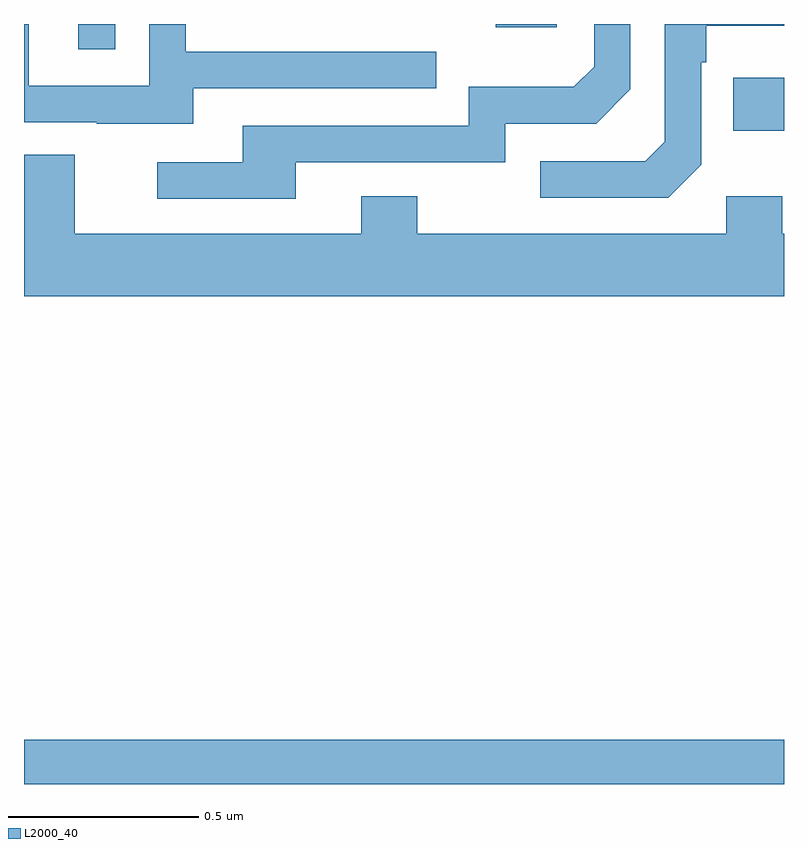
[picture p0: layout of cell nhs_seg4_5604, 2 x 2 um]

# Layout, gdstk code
import gdstk
lib = gdstk.Library(unit=1e-6, precision=1e-09)
def R(c, l, rs):  # rectangles x0, y0, x1, y1
    for r in rs: c.add(gdstk.rectangle(r[:2], r[2:], *l))
def P(c, l, *ps):  # polygons
    for p in ps: c.add(gdstk.Polygon(p, *l))
L2000_40 = (2000, 40)

nhs_seg4_5604 = lib.new_cell('nhs_seg4_5604')
R(nhs_seg4_5604, L2000_40, [(180,764.9,182,765.016), (181.867,766.619,182,766.759), (180.143,766.833,180.24,766.9), (181.241,766.892,181.402,766.9)])
P(nhs_seg4_5604, L2000_40, [(180.445,766.731),(181.085,766.731),(181.085,766.827),(180.426,766.827),(180.426,766.9),(180.33,766.9),(180.33,766.737),(180.012,766.737),(180.012,766.9),(180,766.9),(180,766.641),(180.191,766.641),(180.191,766.637),(180.445,766.637)],
  [(180.715,766.536),(181.266,766.536),(181.266,766.638),(181.506,766.638),(181.596,766.728),(181.596,766.9),(181.5,766.9),(181.5,766.788),(181.447,766.735),(181.17,766.735),(181.17,766.632),(180.575,766.632),(180.575,766.536),(180.351,766.536),(180.351,766.44),(180.715,766.44)],
  [(181.782,766.53),(181.782,766.799),(181.795,766.799),(181.795,766.895),(182,766.895),(182,766.9),(181.686,766.9),(181.686,766.59),(181.635,766.539),(181.359,766.539),(181.359,766.443),(181.695,766.443)],
  [(182,766.348),(181.995,766.348),(181.995,766.447),(181.848,766.447),(181.848,766.348),(181.035,766.348),(181.035,766.447),(180.887,766.447),(180.887,766.348),(180.133,766.348),(180.133,766.556),(180,766.556),(180,766.184),(182,766.184)])

lib.write_gds('nhs_seg4_5604.gds')
